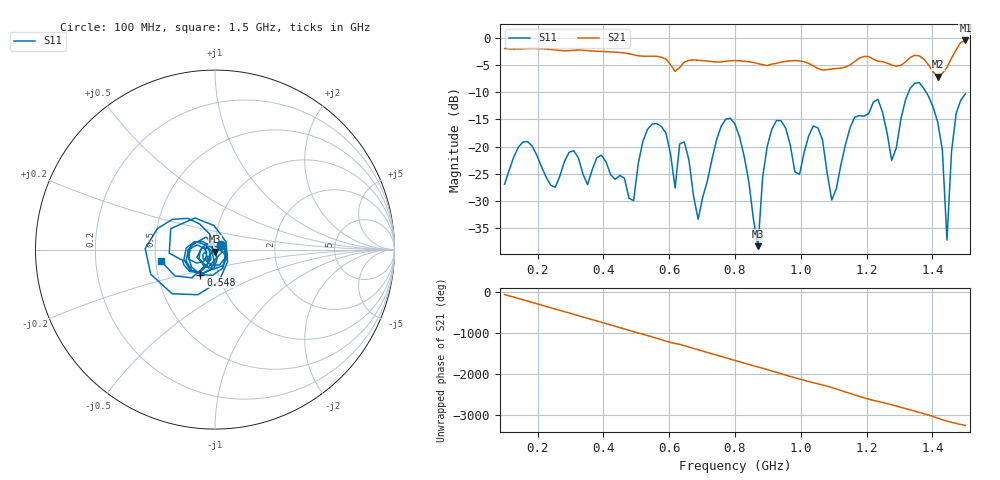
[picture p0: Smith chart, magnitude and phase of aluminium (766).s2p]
! NanoVNA-App
! Date: 2025-09-25 15:01:15
! Start: 100MHz Stop: 1,5GHz Points: 101
! S-Parameter data: F S11 S21 S12 S22
# Hz S RI R 50
!  Frequency  S11_Real  S11_Imag  S21_Real  S21_Imag  S12_Real  S12_Imag  S22_Real  S22_Imag
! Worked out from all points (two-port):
!   101 points, 100 MHz to 1.5 GHz, reference 50 ohm
!   highest |S21| = -0.42 dB at 1.5 GHz (marker M1); lowest = -7.1 dB at 1.416 GHz (marker M2)
!   |S21| within 3 dB of the highest: start of sweep to 568.6 MHz; 1.46 GHz to end of sweep (the widest 2 of 4)
!   lowest |S11| = -38.4 dB at 870 MHz (marker M3), VSWR 1.02, Z = 50.1 - j1.2 ohm
!   |S11| at or under -10 dB: start of sweep to 1.327 GHz; 1.381 GHz to end of sweep
!   S12 and S22 are empty: the file has one direction only
!   S11 on the Smith chart (normalised r, x): 100 MHz: 1.07, +0.06; 548 MHz: 0.82, -0.23; 1.5 GHz: 0.54, -0.08
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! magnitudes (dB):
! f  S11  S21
! 100 MHz  -27.0  -1.9
! 156 MHz  -19.1  -2.0
! 338 MHz  -25.1  -2.2
! 492 MHz  -30.0  -3.1
! 548 MHz  -15.9  -3.3
! 576 MHz  -16.3  -3.5
! 618 MHz  -27.6  -6.1
! 646 MHz  -19.1  -4.4
! 688 MHz  -33.4  -4.1
! 800 MHz  -15.9  -4.1
! 870 MHz  -38.4  -4.7
! 912 MHz  -16.8  -4.8
! 996 MHz  -25.1  -4.2
! 1.038 GHz  -16.2  -5.1
! 1.094 GHz  -29.9  -5.7
! 1.22 GHz  -11.8  -3.9
! 1.276 GHz  -22.5  -4.9
! 1.346 GHz  -8.3  -3.2
! 1.416 GHz  -15.5  -7.1
! 1.444 GHz  -37.3  -5.4
! 1.472 GHz  -13.8  -2.1
! 1.5 GHz  -10.3  -0.4
